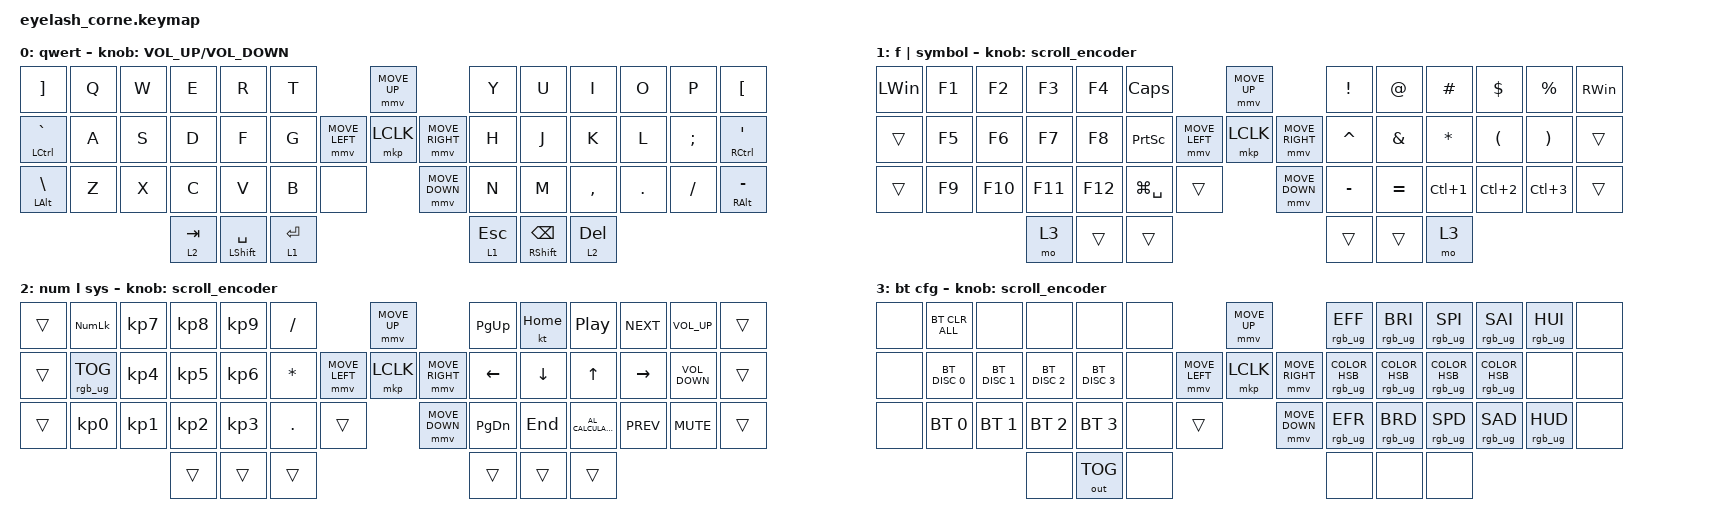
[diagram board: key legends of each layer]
#define ZMK_POINTING_DEFAULT_MOVE_VAL 1200  // 600
#define ZMK_POINTING_DEFAULT_SCRL_VAL 25   // 10

#include <input/processors.dtsi>
#include <zephyr/dt-bindings/input/input-event-codes.h>
#include <behaviors.dtsi>
#include <dt-bindings/zmk/bt.h>
#include <dt-bindings/zmk/keys.h>
#include <dt-bindings/zmk/outputs.h>
#include <dt-bindings/zmk/pointing.h>
#include <dt-bindings/zmk/rgb.h>

&mmv_input_listener { input-processors = <&zip_xy_scaler 2 1>; };

&msc_input_listener { input-processors = <&zip_scroll_scaler 2 1>; };

&msc {
    acceleration-exponent = <1>;      // 0
    time-to-max-speed-ms = <100>;       // 300
    delay-ms = <0>;                   // 0
};

&mmv {
    time-to-max-speed-ms = <500>;
    acceleration-exponent = <1>;
    trigger-period-ms = <16>;
};

&soft_off { hold-time-ms = <2000>; };

&lt {
    tapping-term-ms = <135>;
    flavor = "hold-preferred";
};

&mt {
    tapping-term-ms = <140>;
    flavor = "balanced";
};

/ {
    behaviors {
        td0: td0 {
            compatible = "zmk,behavior-tap-dance";
            display-name = "Shift/Caps Lock Tap Dance";
            #binding-cells = <0>;
            bindings = <&kp LEFT_SHIFT>, <&kp CAPS>;
        };
    };

    rgb_encoder: rgb_encoder {
        compatible = "zmk,behavior-sensor-rotate";
        #sensor-binding-cells = <0>;
        bindings = <&rgb_ug RGB_BRI>, <&rgb_ug RGB_BRD>;
    };

    scroll_encoder: scroll_encoder {
        compatible = "zmk,behavior-sensor-rotate";
        #sensor-binding-cells = <0>;
        bindings = <&msc SCRL_DOWN>, <&msc SCRL_UP>;

        tap-ms = <100>;
    };

    combos {
        compatible = "zmk,combos";

        softoff {
            bindings = <&soft_off>;
            key-positions = <1 15 29>;
        };
    };

    keymap {
        compatible = "zmk,keymap";

        ZERO {
            display-name = "qwert";
            bindings = <
&kp RBKT         &kp Q  &kp W  &kp E      &kp R             &kp T                                 &mmv MOVE_UP                     &kp Y      &kp U                 &kp I      &kp O    &kp P     &kp LBKT
&mt LCTRL GRAVE  &kp A  &kp S  &kp D      &kp F             &kp G                 &mmv MOVE_LEFT  &mkp LCLK       &mmv MOVE_RIGHT  &kp H      &kp J                 &kp K      &kp L    &kp SEMI  &mt RCTRL SQT
&mt LALT BSLH    &kp Z  &kp X  &kp C      &kp V             &kp B        &none                    &mmv MOVE_DOWN                   &kp N      &kp M                 &kp COMMA  &kp DOT  &kp FSLH  &mt RALT MINUS
                               &lt 2 TAB  &mt LSHIFT SPACE  &lt 1 ENTER                                                            &lt 1 ESC  &mt RSHIFT BACKSPACE  &lt 2 DEL
            >;

            sensor-bindings = <&inc_dec_kp C_VOLUME_UP C_VOLUME_DOWN>;
        };

        FRST {
            display-name = "f | symbol";
            bindings = <
&kp LWIN  &kp F1  &kp F2   &kp F3   &kp F4   &kp CAPS                                   &mmv MOVE_UP                     &kp EXCL   &kp AT     &kp POUND         &kp DLLR          &kp PRCNT         &kp RWIN
&trans    &kp F5  &kp F6   &kp F7   &kp F8   &kp PRINTSCREEN            &mmv MOVE_LEFT  &mkp LCLK       &mmv MOVE_RIGHT  &kp CARET  &kp AMPS   &kp STAR          &kp LPAR          &kp RPAR          &trans
&trans    &kp F9  &kp F10  &kp F11  &kp F12  &kp LG(SPACE)    &trans                    &mmv MOVE_DOWN                   &kp MINUS  &kp EQUAL  &kp LC(NUMBER_1)  &kp LC(NUMBER_2)  &kp LC(NUMBER_3)  &trans
                           &mo 3    &trans   &trans                                                                      &trans     &trans     &mo 3
            >;

            sensor-bindings = <&scroll_encoder>;
        };

        SCND {
            display-name = "num l sys";
            bindings = <
&trans  &kp KP_NUMLOCK   &kp KP_NUMBER_7  &kp KP_NUMBER_8  &kp KP_NUMBER_9  &kp SLASH                               &mmv MOVE_UP                     &kp PAGE_UP     &kt HOME        &kp C_PLAY_PAUSE     &kp C_NEXT       &kp C_VOL_UP       &trans
&trans  &rgb_ug RGB_TOG  &kp KP_NUMBER_4  &kp KP_NUMBER_5  &kp KP_NUMBER_6  &kp ASTERISK            &mmv MOVE_LEFT  &mkp LCLK       &mmv MOVE_RIGHT  &kp LEFT_ARROW  &kp DOWN_ARROW  &kp UP_ARROW         &kp RIGHT_ARROW  &kp C_VOLUME_DOWN  &trans
&trans  &kp KP_NUMBER_0  &kp KP_NUMBER_1  &kp KP_NUMBER_2  &kp KP_NUMBER_3  &kp DOT       &trans                    &mmv MOVE_DOWN                   &kp PAGE_DOWN   &kp END         &kp C_AL_CALCULATOR  &kp C_PREV       &kp K_MUTE         &trans
                                          &trans           &trans           &trans                                                                   &trans          &trans          &trans
            >;

            sensor-bindings = <&scroll_encoder>;
        };

        THRD {
            display-name = "bt cfg";
            bindings = <
&none  &bt BT_CLR_ALL  &none          &none          &none          &none                            &mmv MOVE_UP                     &rgb_ug RGB_EFF                 &rgb_ug RGB_BRI                  &rgb_ug RGB_SPI                    &rgb_ug RGB_SAI                    &rgb_ug RGB_HUI  &none
&none  &bt BT_DISC 0   &bt BT_DISC 1  &bt BT_DISC 2  &bt BT_DISC 3  &none            &mmv MOVE_LEFT  &mkp LCLK       &mmv MOVE_RIGHT  &rgb_ug RGB_COLOR_HSB(0,0,100)  &rgb_ug RGB_COLOR_HSB(0,100,52)  &rgb_ug RGB_COLOR_HSB(111,100,50)  &rgb_ug RGB_COLOR_HSB(222,100,50)  &none            &none
&none  &bt BT_SEL 0    &bt BT_SEL 1   &bt BT_SEL 2   &bt BT_SEL 3   &none  &trans                    &mmv MOVE_DOWN                   &rgb_ug RGB_EFR                 &rgb_ug RGB_BRD                  &rgb_ug RGB_SPD                    &rgb_ug RGB_SAD                    &rgb_ug RGB_HUD  &none
                                      &none          &out OUT_TOG   &none                                                             &none                           &none                            &none
            >;

            sensor-bindings = <&scroll_encoder>;
            label = "bt-cfg";
        };
    };
};
